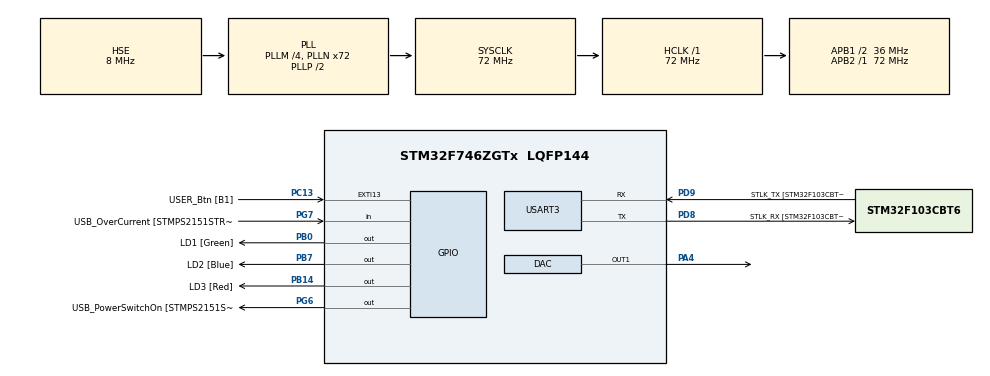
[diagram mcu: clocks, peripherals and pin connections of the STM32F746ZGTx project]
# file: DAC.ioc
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DAC.DAC_Trigger=DAC_TRIGGER_T2_TRGO
Dma.DAC1.0.Direction=DMA_MEMORY_TO_PERIPH
Dma.DAC1.0.FIFOMode=DMA_FIFOMODE_DISABLE
Dma.DAC1.0.Instance=DMA1_Stream5
Dma.DAC1.0.MemDataAlignment=DMA_MDATAALIGN_HALFWORD
Dma.DAC1.0.MemInc=DMA_MINC_ENABLE
Dma.DAC1.0.Mode=DMA_CIRCULAR
Dma.DAC1.0.PeriphDataAlignment=DMA_PDATAALIGN_HALFWORD
Dma.DAC1.0.PeriphInc=DMA_PINC_DISABLE
Dma.DAC1.0.Priority=DMA_PRIORITY_LOW
Dma.Request0=DAC1
Mcu.Family=STM32F7
Mcu.Name=STM32F746ZGTx
Mcu.Package=LQFP144
NVIC.DMA1_Stream5_IRQn=true\:0\:0\:false\:false\:true\:false\:true\:true
NVIC.PriorityGroup=NVIC_PRIORITYGROUP_4
NVIC.TIM2_IRQn=true\:0\:0\:false\:false\:true\:true\:true\:true
NVIC.TIM6_DAC_IRQn=true\:0\:0\:false\:false\:true\:true\:true\:true
NVIC.USART3_IRQn=true\:0\:0\:false\:false\:true\:true\:true\:true
PA1.GPIO_Label=RMII_REF_CLK [LAN8742A-CZ-TR_REFCLK0]
PA1.Signal=ETH_REF_CLK
PA10.GPIO_Label=USB_ID
PA10.Signal=USB_OTG_FS_ID
PA11.GPIO_Label=USB_DM
PA11.Signal=USB_OTG_FS_DM
PA12.GPIO_Label=USB_DP
PA12.Signal=USB_OTG_FS_DP
PA13.GPIO_Label=TMS
PA13.Mode=Serial_Wire
PA13.Signal=SYS_JTMS-SWDIO
PA14.GPIO_Label=TCK
PA14.Mode=Serial_Wire
PA14.Signal=SYS_JTCK-SWCLK
PA2.GPIO_Label=RMII_MDIO [LAN8742A-CZ-TR_MDIO]
PA2.Signal=ETH_MDIO
PA4.Signal=COMP_DAC1_group
PA7.GPIO_Label=RMII_CRS_DV [LAN8742A-CZ-TR_CRS_DV]
PA7.Signal=ETH_CRS_DV
PA8.GPIO_Label=USB_SOF [TP1]
PA8.Signal=USB_OTG_FS_SOF
PA9.GPIO_Label=USB_VBUS
PA9.Signal=USB_OTG_FS_VBUS
PB0.GPIO_Label=LD1 [Green]
PB0.Signal=GPIO_Output
PB13.GPIO_Label=RMII_TXD1 [LAN8742A-CZ-TR_TXD1]
PB13.Signal=ETH_TXD1
PB14.GPIO_Label=LD3 [Red]
PB14.Signal=GPIO_Output
PB3.GPIO_Label=SW0
PB3.Signal=SYS_JTDO-SWO
PB7.GPIO_Label=LD2 [Blue]
PB7.Signal=GPIO_Output
PC1.GPIO_Label=RMII_MDC [LAN8742A-CZ-TR_MDC]
PC1.Signal=ETH_MDC
PC13.GPIO_Label=USER_Btn [B1]
PC13.Signal=GPXTI13
PC14/OSC32_IN.Mode=LSE-External-Oscillator
PC14/OSC32_IN.Signal=RCC_OSC32_IN
PC15/OSC32_OUT.Mode=LSE-External-Oscillator
PC15/OSC32_OUT.Signal=RCC_OSC32_OUT
PC4.GPIO_Label=RMII_RXD0 [LAN8742A-CZ-TR_RXD0]
PC4.Signal=ETH_RXD0
PC5.GPIO_Label=RMII_RXD1 [LAN8742A-CZ-TR_RXD1]
PC5.Signal=ETH_RXD1
PD8.GPIO_Label=STLK_RX [STM32F103CBT6_PA3]
PD8.Mode=Asynchronous
PD8.Signal=USART3_TX
PD9.GPIO_Label=STLK_TX [STM32F103CBT6_PA2]
PD9.Mode=Asynchronous
PD9.Signal=USART3_RX
PG11.GPIO_Label=RMII_TX_EN [LAN8742A-CZ-TR_TXEN]
PG11.Signal=ETH_TX_EN
PG13.GPIO_Label=RMII_TXD0 [LAN8742A-CZ-TR_TXD0]
PG13.Signal=ETH_TXD0
PG6.GPIO_Label=USB_PowerSwitchOn [STMPS2151STR_EN]
PG6.Signal=GPIO_Output
PG7.GPIO_Label=USB_OverCurrent [STMPS2151STR_FAULT]
PG7.Signal=GPIO_Input
PH0/OSC_IN.GPIO_Label=MCO [STM32F103CBT6_PA8]
PH0/OSC_IN.Mode=HSE-External-Clock-Source
PH0/OSC_IN.Signal=RCC_OSC_IN
PH1/OSC_OUT.Mode=HSE-External-Clock-Source
PH1/OSC_OUT.Signal=RCC_OSC_OUT
ProjectManager.HeapSize=0x200
ProjectManager.StackSize=0x400
ProjectManager.TargetToolchain=STM32CubeIDE
RCC.48MHZClocksFreq_Value=24000000
RCC.AHBFreq_Value=72000000
RCC.APB1CLKDivider=RCC_HCLK_DIV2
RCC.APB1Freq_Value=36000000
RCC.APB1TimFreq_Value=72000000
RCC.APB2Freq_Value=72000000
RCC.APB2TimFreq_Value=72000000
RCC.CortexFreq_Value=72000000
RCC.HCLKFreq_Value=72000000
RCC.HSE_VALUE=8000000
RCC.HSI_VALUE=16000000
RCC.PLLM=4
RCC.PLLMUL=RCC_PLL_MUL9
RCC.PLLN=72
RCC.PLLQ=3
RCC.PLLSourceVirtual=RCC_PLLSOURCE_HSE
RCC.PRESCALERUSB=RCC_USBCLKSOURCE_PLL_DIV1_5
RCC.SYSCLKFreq_VALUE=72000000
RCC.SYSCLKSource=RCC_SYSCLKSOURCE_PLLCLK
RCC.SYSCLKSourceVirtual=RCC_SYSCLKSOURCE_PLLCLK
RCC.USBFreq_Value=48000000
RCC.VCOOutputFreq_Value=144000000
SH.COMP_DAC1_group.0=DAC_OUT1,DAC_OUT1
TIM2.Period=9
TIM2.Prescaler=7199
TIM2.TIM_MasterOutputTrigger=TIM_TRGO_UPDATE
USART3.VirtualMode-Asynchronous=VM_ASYNC
VP_TIM2_VS_ClockSourceINT.Mode=Internal
board=NUCLEO-F746ZG

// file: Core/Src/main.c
/* USER CODE BEGIN Header */
/**
  ******************************************************************************
  * @file           : main.c
  * @brief          : Main program body
  ******************************************************************************
  * @attention
  *
  * Copyright (c) 2022 STMicroelectronics.
  * All rights reserved.
  *
  * This software is licensed under terms that can be found in the LICENSE file
  * in the root directory of this software component.
  * If no LICENSE file comes with this software, it is provided AS-IS.
  *
  ******************************************************************************
  */
/* USER CODE END Header */
#include "main.h"
#include "dac.h"
#include "dma.h"
#include "tim.h"
#include "usart.h"
#include "gpio.h"

/* USER CODE BEGIN Includes */
#include "User_dac.h"
#include "stdio.h"
#include "math.h"
/* USER CODE END Includes */

/* USER CODE BEGIN PV */
const float ts = 0.001f; // [s]
float A  = 1.0f;
float A_buf  = 1.0f;// [V]
float A0 = 1.0f;
float A0_buf = 1.0f;  // [V]
const float f  = 1.0f;  // [Hz]
const float T  = 1/f-ts; // [s]

float y = 0.0f; // [V]

float t = 0.0f;  // [s]

int out_svw=0;
char msg_str[32];
int str_len = 4;
/* USER CODE END PV */

void SystemClock_Config(void);

/* USER CODE BEGIN 0 */
void HAL_TIM_PeriodElapsedCallback(TIM_HandleTypeDef *htim)
{
  /* Analog output: high priority */
  if(htim->Instance == TIM2)
  {
	if(t == 0)
	{
		A = A_buf;
		A0 = A_buf;
	}
    y = A*sinf(2*M_PI*f*t) + A0;
    t = (t < T) ? (t+ts) : (0);
    DAC_SetVoltage(&hdac,DAC_CHANNEL_1, y);
   	out_svw = HAL_DAC_GetValue(&hdac, DAC_CHANNEL_1);
  }
}

void HAL_UART_RxCpltCallback(UART_HandleTypeDef *huart)
{
	if(huart->Instance == USART3)
	{
		A_buf = parse_control_Amplitiude(msg_str);
		HAL_UART_Receive_IT(&huart3, (uint8_t*)msg_str, str_len);
	}
}
/* USER CODE END 0 */

int main(void)
{

  /* MCU Configuration--------------------------------------------------------*/

  /* Reset of all peripherals, Initializes the Flash interface and the Systick. */
  HAL_Init();

  /* Configure the system clock */
  SystemClock_Config();

  /* Initialize all configured peripherals */
  MX_GPIO_Init();
  MX_USART3_UART_Init();
  MX_DMA_Init();
  MX_DAC_Init();
  MX_TIM2_Init();
  /* USER CODE BEGIN 2 */
  HAL_TIM_Base_Start_IT(&htim2);
  HAL_DAC_Start(&hdac,DAC_CHANNEL_1);
  HAL_UART_Receive_IT(&huart3, (uint8_t*)msg_str, str_len);
  /* USER CODE END 2 */

  /* Infinite loop */
  while (1)
  {

  }
}

void SystemClock_Config(void)
{
  RCC_OscInitTypeDef RCC_OscInitStruct = {0};
  RCC_ClkInitTypeDef RCC_ClkInitStruct = {0};

  /** Configure LSE Drive Capability
  */
  HAL_PWR_EnableBkUpAccess();

  /** Configure the main internal regulator output voltage
  */
  __HAL_RCC_PWR_CLK_ENABLE();
  __HAL_PWR_VOLTAGESCALING_CONFIG(PWR_REGULATOR_VOLTAGE_SCALE3);

  /** Initializes the RCC Oscillators according to the specified parameters
  * in the RCC_OscInitTypeDef structure.
  */
  RCC_OscInitStruct.OscillatorType = RCC_OSCILLATORTYPE_HSE;
  RCC_OscInitStruct.HSEState = RCC_HSE_BYPASS;
  RCC_OscInitStruct.PLL.PLLState = RCC_PLL_ON;
  RCC_OscInitStruct.PLL.PLLSource = RCC_PLLSOURCE_HSE;
  RCC_OscInitStruct.PLL.PLLM = 4;
  RCC_OscInitStruct.PLL.PLLN = 72;
  RCC_OscInitStruct.PLL.PLLP = RCC_PLLP_DIV2;
  RCC_OscInitStruct.PLL.PLLQ = 3;
  if (HAL_RCC_OscConfig(&RCC_OscInitStruct) != HAL_OK)
  {
    Error_Handler();
  }

  /** Initializes the CPU, AHB and APB buses clocks
  */
  RCC_ClkInitStruct.ClockType = RCC_CLOCKTYPE_HCLK|RCC_CLOCKTYPE_SYSCLK
                              |RCC_CLOCKTYPE_PCLK1|RCC_CLOCKTYPE_PCLK2;
  RCC_ClkInitStruct.SYSCLKSource = RCC_SYSCLKSOURCE_PLLCLK;
  RCC_ClkInitStruct.AHBCLKDivider = RCC_SYSCLK_DIV1;
  RCC_ClkInitStruct.APB1CLKDivider = RCC_HCLK_DIV2;
  RCC_ClkInitStruct.APB2CLKDivider = RCC_HCLK_DIV1;

  if (HAL_RCC_ClockConfig(&RCC_ClkInitStruct, FLASH_LATENCY_2) != HAL_OK)
  {
    Error_Handler();
  }
}

void Error_Handler(void)
{
  __disable_irq();
  while (1)
  {
  }
}
